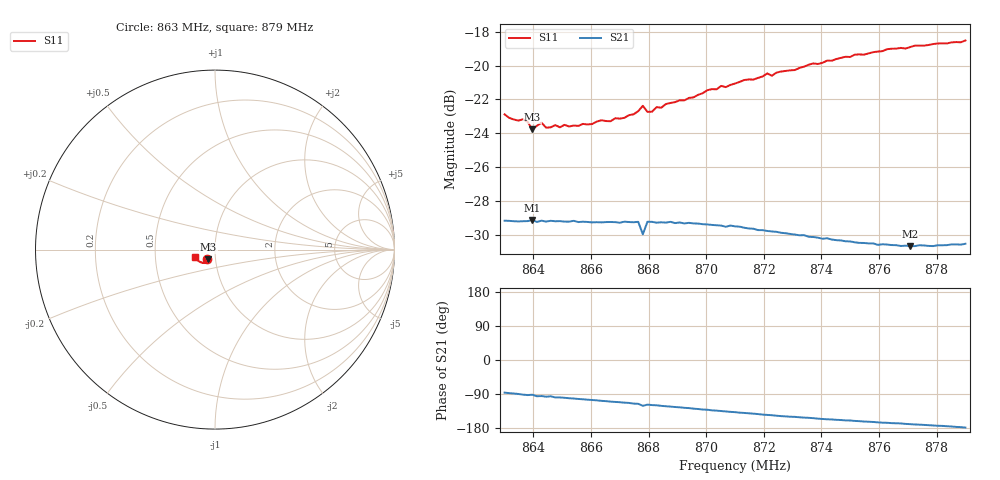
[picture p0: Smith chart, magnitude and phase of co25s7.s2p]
# HZ S RI R 50
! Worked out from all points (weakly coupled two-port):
!   101 points, 863 MHz to 879 MHz, reference 50 ohm
!   highest |S21| = -29.14 dB at 863.96 MHz (marker M1); lowest = -30.7 dB at 877.08 MHz (marker M2)
!   lowest |S11| = -23.8 dB at 863.96 MHz (marker M3), VSWR 1.14, Z = 46.2 - j4.93 ohm
!   |S11| at or under -10 dB: start of sweep to end of sweep
!   S12 and S22 are empty: the file has one direction only
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8.63e8  -0.0463 -0.0547  0.00233 -0.0347  0 0  0 0
8.6332e8  -0.044 -0.0534  0.000986 -0.0346  0 0  0 0
8.6364e8  -0.0428 -0.0546  -0.000875 -0.0346  0 0  0 0
8.638e8  -0.0415 -0.054  -0.00156 -0.0346  0 0  0 0
8.6396e8  -0.0369 -0.0532  -0.00101 -0.0349  0 0  0 0
8.6428e8  -0.0386 -0.0557  -0.00312 -0.0346  0 0  0 0
8.6444e8  -0.0384 -0.053  -0.00409 -0.0343  0 0  0 0
8.6572e8  -0.0352 -0.0572  -0.00816 -0.0335  0 0  0 0
8.6668e8  -0.034 -0.0594  -0.0117 -0.0324  0 0  0 0
8.6764e8  -0.0363 -0.0637  -0.0149 -0.0311  0 0  0 0
8.678e8  -0.0398 -0.0647  -0.0163 -0.0272  0 0  0 0
8.6796e8  -0.0349 -0.0641  -0.0161 -0.0305  0 0  0 0
8.6812e8  -0.0362 -0.0634  -0.0167 -0.0302  0 0  0 0
8.6828e8  -0.0362 -0.066  -0.0169 -0.0298  0 0  0 0
8.6844e8  -0.0361 -0.0658  -0.0177 -0.0295  0 0  0 0
8.686e8  -0.0355 -0.0682  -0.0182 -0.0291  0 0  0 0
8.7004e8  -0.0434 -0.0725  -0.0224 -0.0254  0 0  0 0
8.71e8  -0.0488 -0.0738  -0.0247 -0.0225  0 0  0 0
8.7372e8  -0.0686 -0.0748  -0.0278 -0.0139  0 0  0 0
8.7644e8  -0.0938 -0.0614  -0.0286 -0.00681  0 0  0 0
8.7708e8  -0.0979 -0.0573  -0.0287 -0.00543  0 0  0 0
8.79e8  -0.1118 -0.0397  -0.0297 -0.000846  0 0  0 0
